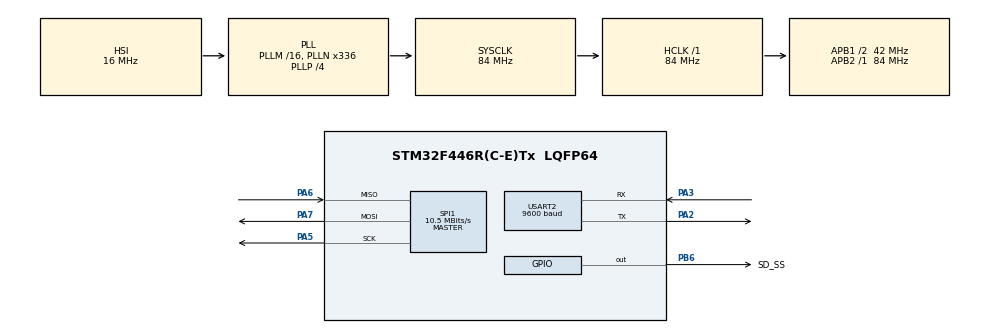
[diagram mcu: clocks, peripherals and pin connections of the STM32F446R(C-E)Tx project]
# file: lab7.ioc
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FATFS._MAX_SS=4096
FATFS._USE_LFN=1
Mcu.Family=STM32F4
Mcu.Name=STM32F446R(C-E)Tx
Mcu.Package=LQFP64
NVIC.PriorityGroup=NVIC_PRIORITYGROUP_0
PA13.Mode=Serial_Wire
PA13.Signal=SYS_JTMS-SWDIO
PA14.Mode=Serial_Wire
PA14.Signal=SYS_JTCK-SWCLK
PA2.Mode=Asynchronous
PA2.Signal=USART2_TX
PA3.Mode=Asynchronous
PA3.Signal=USART2_RX
PA5.Mode=Full_Duplex_Master
PA5.Signal=SPI1_SCK
PA6.Mode=Full_Duplex_Master
PA6.Signal=SPI1_MISO
PA7.Mode=Full_Duplex_Master
PA7.Signal=SPI1_MOSI
PB6.GPIO_Label=SD_SS
PB6.GPIO_Speed=GPIO_SPEED_FREQ_MEDIUM
PB6.PinState=GPIO_PIN_SET
PB6.Signal=GPIO_Output
PH0-OSC_IN.Mode=HSE-External-Oscillator
PH0-OSC_IN.Signal=RCC_OSC_IN
PH1-OSC_OUT.Mode=HSE-External-Oscillator
PH1-OSC_OUT.Signal=RCC_OSC_OUT
ProjectManager.HeapSize=0x200
ProjectManager.StackSize=0x400
ProjectManager.TargetToolchain=STM32CubeIDE
RCC.48MHZClocksFreq_Value=84000000
RCC.AHBFreq_Value=84000000
RCC.APB1CLKDivider=RCC_HCLK_DIV2
RCC.APB1Freq_Value=42000000
RCC.APB1TimFreq_Value=84000000
RCC.APB2Freq_Value=84000000
RCC.APB2TimFreq_Value=84000000
RCC.CortexFreq_Value=84000000
RCC.FLatency-AdvancedSettings=FLASH_LATENCY_2
RCC.HCLKFreq_Value=84000000
RCC.HSE_VALUE=8000000
RCC.HSI_VALUE=16000000
RCC.PLLN=336
RCC.PLLP=RCC_PLLP_DIV4
RCC.SYSCLKFreq_VALUE=84000000
RCC.SYSCLKSource=RCC_SYSCLKSOURCE_PLLCLK
RCC.USBFreq_Value=168000000
RCC.VCOOutputFreq_Value=336000000
SPI1.BaudRatePrescaler=SPI_BAUDRATEPRESCALER_8
SPI1.CalculateBaudRate=10.5 MBits/s
SPI1.Direction=SPI_DIRECTION_2LINES
SPI1.Mode=SPI_MODE_MASTER
SPI1.VirtualType=VM_MASTER
USART2.BaudRate=9600
USART2.VirtualMode=VM_ASYNC
VP_FATFS_VS_Generic.Mode=User_defined
board=NUCLEO-F446RE

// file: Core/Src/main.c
/* USER CODE BEGIN Header */
/**
  ******************************************************************************
  * Rolinda Beb          : 22274
  * LAb7                 : Digital 2
  ******************************************************************************
  * ALmacenamiento en SD
  *
  *
  ******************************************************************************
  */
/* USER CODE END Header */
#include "main.h"
#include "fatfs.h"

/* USER CODE BEGIN Includes */
#include "fatfs_sd.h"
#include "string.h"
#include "stdio.h"
/* USER CODE END Includes */

/* USER CODE BEGIN PD */
//SPI_HandleTypeDef hspi1;
FATFS fs;
FATFS *pfs;
FIL fil;
FRESULT fres;
DWORD fre_clust;
uint32_t totalSpace, freeSpace;
char buffer[400];
char user_input;
char menu[] = "Menu:\r\n 1. Mario\r\n 2. Mago\r\n 3. Link\r\n Ingrese una opcion: \n";
/* USER CODE END PD */

SPI_HandleTypeDef hspi1;

UART_HandleTypeDef huart2;

void SystemClock_Config(void);
static void MX_GPIO_Init(void);
static void MX_SPI1_Init(void);
static void MX_USART2_UART_Init(void);
void handle_sd_card_operations(const char *filename);
void transmit_uart(char *message);

int main(void)
{

  /* MCU Configuration--------------------------------------------------------*/

  /* Reset of all peripherals, Initializes the Flash interface and the Systick. */
  HAL_Init();

  /* Configure the system clock */
  SystemClock_Config();

  /* Initialize all configured peripherals */
  MX_GPIO_Init();
  MX_SPI1_Init();
  MX_FATFS_Init();
  MX_USART2_UART_Init();

  /* USER CODE BEGIN 2 */
 //handle_sd_card_operations("a.txt");  // Para trabajar con "a.txt"
 // handle_sd_card_operations("b.txt");
  //handle_sd_card_operations("c.txt");
  /* USER CODE END 2 */

  /* Infinite loop */
  while (1)
  {
	  /* Mostrar el menú por UART */
	      transmit_uart(menu);

	      /* Recibir entrada del usuario por UART */
	      HAL_UART_Receive(&huart2, (uint8_t*)&user_input, 1, HAL_MAX_DELAY);

	      /* Procesar la entrada del usuario */
	      switch(user_input) {
	        case '1':
	          transmit_uart("\r\n");
	          //transmit_uart("Mostrando el contenido de a.txt...\r\n");
	          handle_sd_card_operations("a.txt");
	          break;
	        case '2':
	          transmit_uart("\r\n");
	          //transmit_uart("Mostrando el contenido de b.txt...\r\n");
	          handle_sd_card_operations("b.txt");
	          break;
	        case '3':
	          transmit_uart("\r\n");
	          //transmit_uart("Mostrando el contenido de c.txt...\r\n");
	          handle_sd_card_operations("c.txt");
	          break;
	        default:
	          transmit_uart("Opción no válida. Intente de nuevo.\r\n");
	          break;
	      }

  }
}

void SystemClock_Config(void)
{
  RCC_OscInitTypeDef RCC_OscInitStruct = {0};
  RCC_ClkInitTypeDef RCC_ClkInitStruct = {0};

  /** Configure the main internal regulator output voltage
  */
  __HAL_RCC_PWR_CLK_ENABLE();
  __HAL_PWR_VOLTAGESCALING_CONFIG(PWR_REGULATOR_VOLTAGE_SCALE3);

  /** Initializes the RCC Oscillators according to the specified parameters
  * in the RCC_OscInitTypeDef structure.
  */
  RCC_OscInitStruct.OscillatorType = RCC_OSCILLATORTYPE_HSI;
  RCC_OscInitStruct.HSIState = RCC_HSI_ON;
  RCC_OscInitStruct.HSICalibrationValue = RCC_HSICALIBRATION_DEFAULT;
  RCC_OscInitStruct.PLL.PLLState = RCC_PLL_ON;
  RCC_OscInitStruct.PLL.PLLSource = RCC_PLLSOURCE_HSI;
  RCC_OscInitStruct.PLL.PLLM = 16;
  RCC_OscInitStruct.PLL.PLLN = 336;
  RCC_OscInitStruct.PLL.PLLP = RCC_PLLP_DIV4;
  RCC_OscInitStruct.PLL.PLLQ = 2;
  RCC_OscInitStruct.PLL.PLLR = 2;
  if (HAL_RCC_OscConfig(&RCC_OscInitStruct) != HAL_OK)
  {
    Error_Handler();
  }

  /** Initializes the CPU, AHB and APB buses clocks
  */
  RCC_ClkInitStruct.ClockType = RCC_CLOCKTYPE_HCLK|RCC_CLOCKTYPE_SYSCLK
                              |RCC_CLOCKTYPE_PCLK1|RCC_CLOCKTYPE_PCLK2;
  RCC_ClkInitStruct.SYSCLKSource = RCC_SYSCLKSOURCE_PLLCLK;
  RCC_ClkInitStruct.AHBCLKDivider = RCC_SYSCLK_DIV1;
  RCC_ClkInitStruct.APB1CLKDivider = RCC_HCLK_DIV2;
  RCC_ClkInitStruct.APB2CLKDivider = RCC_HCLK_DIV1;

  if (HAL_RCC_ClockConfig(&RCC_ClkInitStruct, FLASH_LATENCY_2) != HAL_OK)
  {
    Error_Handler();
  }
}

static void MX_SPI1_Init(void)
{

  /* SPI1 parameter configuration*/
  hspi1.Instance = SPI1;
  hspi1.Init.Mode = SPI_MODE_MASTER;
  hspi1.Init.Direction = SPI_DIRECTION_2LINES;
  hspi1.Init.DataSize = SPI_DATASIZE_8BIT;
  hspi1.Init.CLKPolarity = SPI_POLARITY_LOW;
  hspi1.Init.CLKPhase = SPI_PHASE_1EDGE;
  hspi1.Init.NSS = SPI_NSS_SOFT;
  hspi1.Init.BaudRatePrescaler = SPI_BAUDRATEPRESCALER_8;
  hspi1.Init.FirstBit = SPI_FIRSTBIT_MSB;
  hspi1.Init.TIMode = SPI_TIMODE_DISABLE;
  hspi1.Init.CRCCalculation = SPI_CRCCALCULATION_DISABLE;
  hspi1.Init.CRCPolynomial = 10;
  if (HAL_SPI_Init(&hspi1) != HAL_OK)
  {
    Error_Handler();
  }

}

static void MX_USART2_UART_Init(void)
{

  huart2.Instance = USART2;
  huart2.Init.BaudRate = 9600;
  huart2.Init.WordLength = UART_WORDLENGTH_8B;
  huart2.Init.StopBits = UART_STOPBITS_1;
  huart2.Init.Parity = UART_PARITY_NONE;
  huart2.Init.Mode = UART_MODE_TX_RX;
  huart2.Init.HwFlowCtl = UART_HWCONTROL_NONE;
  huart2.Init.OverSampling = UART_OVERSAMPLING_16;
  if (HAL_UART_Init(&huart2) != HAL_OK)
  {
    Error_Handler();
  }

}

static void MX_GPIO_Init(void)
{
  GPIO_InitTypeDef GPIO_InitStruct = {0};

  /* GPIO Ports Clock Enable */
  __HAL_RCC_GPIOH_CLK_ENABLE();
  __HAL_RCC_GPIOA_CLK_ENABLE();
  __HAL_RCC_GPIOB_CLK_ENABLE();

  /*Configure GPIO pin Output Level */
  HAL_GPIO_WritePin(SD_SS_GPIO_Port, SD_SS_Pin, GPIO_PIN_SET);

  /*Configure GPIO pin : SD_SS_Pin */
  GPIO_InitStruct.Pin = SD_SS_Pin;
  GPIO_InitStruct.Mode = GPIO_MODE_OUTPUT_PP;
  GPIO_InitStruct.Pull = GPIO_NOPULL;
  GPIO_InitStruct.Speed = GPIO_SPEED_FREQ_MEDIUM;
  HAL_GPIO_Init(SD_SS_GPIO_Port, &GPIO_InitStruct);

}

/* USER CODE BEGIN 4 */
/* USER CODE BEGIN 4 */

void transmit_uart(char *message) {
    HAL_UART_Transmit(&huart2, (uint8_t*)message, strlen(message), HAL_MAX_DELAY);
}
void handle_sd_card_operations(const char *filename) {
    FRESULT fres;
    HAL_Delay(500); // Retardo para estabilización
    FIL fil;
    char buffer[100];

    // 1. Montar SD
    fres = f_mount(&fs, "/", 0);
    if (fres == FR_OK) {
        //transmit_uart("Micro SD card is mounted successfully!\r\n");
    } else {
        //transmit_uart("Micro SD card's mount error!\r\n");
        return; // Salir si no se puede montar la tarjeta
    }

    // 2. Abrir archivo
    fres = f_open(&fil, filename, FA_OPEN_APPEND | FA_WRITE | FA_READ);
    if (fres == FR_OK) {
        //transmit_uart("File opened for reading.\r\n");
    } else {
        //transmit_uart("File was not opened for reading!\r\n");
        f_mount(NULL, "", 1); // Desmontar SD en caso de error
        return;
    }

 /*/ 3. Leer archivo

    while (f_gets(buffer, sizeof(buffer), &fil)) {
        char mRd[100];
        sprintf(mRd, "%s", buffer);
        transmit_uart(mRd);
    }*/
    // 3.1 Comprobar si el archivo está vacío
    if (f_eof(&fil)) {
        // Si el archivo está vacío, podemos escribir datos iniciales.
        // Mover el puntero del archivo al inicio para preparar la escritura.
        f_lseek(&fil, 0);
    }

    // 3. Leer el archivo línea por línea
    int line_count = 0; // Inicializar un contador para las líneas leídas
    while (f_gets(buffer, sizeof(buffer), &fil)) {
        // Incrementar el contador de líneas por cada línea leída
        line_count++;
        // Declarar un arreglo para formatear la línea leída
        char formatted_line[200];
        // Copiar el contenido del buffer a formatted_line
        sprintf(formatted_line, "%s", buffer);
        // Transmitir la línea formateada a través de UART
        transmit_uart(formatted_line);
        transmit_uart("\r\n");
    }

	/*if (line_count > 0) {
		transmit_uart("Total lines read: ");
		char line_count_str[10];
		sprintf(line_count_str, "%d\r\n", line_count);
		transmit_uart(line_count_str);
	} else {
		transmit_uart("No lines read from file!\r\n");
	}*/

    // 4. Escribir en el archivo (comentar o personalizar según necesidad)
    /* for (uint8_t i = 0; i < 10; i++) {
        f_puts("Hola Mundo.\n", &fil);
    } */

    // 5. Cerrar archivo
    fres = f_close(&fil);
    if (fres == FR_OK) {
        //transmit_uart("The file is closed.\r\n");
    } else {
        //transmit_uart("The file was not closed.\r\n");
    }

    // 6. Desmontar SD
    f_mount(NULL, "", 1);
    if (fres == FR_OK) {
        //transmit_uart("The Micro SD card is unmounted!\r\n");
    } else {
        //transmit_uart("The Micro SD was not unmounted!\r\n");
    }
}

/* USER CODE END 4 */

void Error_Handler(void)
{
  __disable_irq();
  while (1)
  {
  }
}
